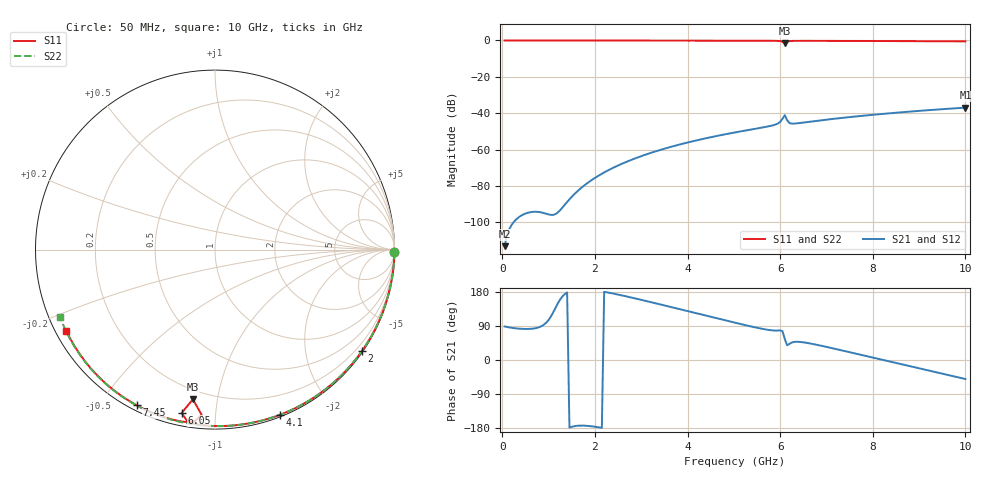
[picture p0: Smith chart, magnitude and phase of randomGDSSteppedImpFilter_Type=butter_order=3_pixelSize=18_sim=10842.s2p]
! freq	dB(S11)	phase(S11)	dB(S12)	phase(S12)
!  dB(S21)	phase(S21)	dB(S22)	phase(S22)
!S-par simulation data
#  GHz  S  DB  R 50
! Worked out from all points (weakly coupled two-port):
!   200 points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, 50 MHz to 10 GHz, reference 50 ohm
!   highest |S21| = -36.91 dB at 10 GHz (marker M1); lowest = -113.0 dB at 50 MHz (marker M2)
!   lowest |S11| = -1.5 dB at 6.1 GHz (marker M3), VSWR 11.75, Z = 7.38 - j42.6 ohm
!   |S11| at or under -10 dB: nowhere
!   |S22| runs from -0.5 to 0.0 dB; largest |S21 - S12| = 0
!   S11 on the Smith chart (normalised r, x): 50 MHz: open; 2 GHz: 0.03, -3.22; 4.1 GHz: 0.02, -1.47; 6.05 GHz: 0.06, -0.81; 7.45 GHz: 0.02, -0.62; 10 GHz: 0.03, -0.26
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0.05  -0.00 -0.9  -113.01 88.5  -113.01 88.5  -0.00 -0.9
0.9  -0.02 -15.7  -94.83 93.4  -94.83 93.4  -0.02 -16.2
1.75  -0.04 -30.3  -80.05 -173.2  -80.05 -173.2  -0.04 -31.2
2  -0.04 -34.5  -75.52 -176.1  -75.52 -176.1  -0.05 -35.5
2.3  -0.05 -39.5  -71.15 177.7  -71.15 177.7  -0.05 -40.7
2.6  -0.06 -44.5  -67.55 170.0  -67.55 170.0  -0.06 -45.8
3  -0.07 -51.1  -63.56 158.8  -63.56 158.8  -0.07 -52.5
3.4  -0.08 -57.5  -60.22 147.0  -60.22 147.0  -0.08 -59.1
4.1  -0.10 -68.6  -55.45 125.9  -55.45 125.9  -0.10 -70.4
5.05  -0.13 -83.1  -50.41 97.6  -50.41 97.6  -0.13 -85.3
5.85  -0.19 -95.8  -46.57 77.9  -46.57 77.9  -0.17 -97.3
6  -0.33 -99.5  -44.77 78.1  -44.77 78.1  -0.18 -99.5
6.05  -0.64 -101.5  -43.01 76.2  -43.01 76.2  -0.18 -100.2
6.1  -1.48 -98.4  -41.02 55.5  -41.02 55.5  -0.18 -101.0
6.15  -0.68 -94.6  -43.79 38.7  -43.79 38.7  -0.18 -101.7
6.2  -0.35 -96.6  -45.34 42.6  -45.34 42.6  -0.19 -102.4
6.25  -0.26 -98.1  -45.68 46.0  -45.68 46.0  -0.19 -103.2
6.7  -0.21 -106.0  -44.44 42.4  -44.44 42.4  -0.21 -109.7
7.45  -0.26 -116.6  -42.23 22.0  -42.23 22.0  -0.27 -120.4
8.35  -0.33 -128.9  -40.03 -3.6  -40.03 -3.6  -0.34 -133.0
9.2  -0.41 -140.4  -38.30 -27.7  -38.30 -27.7  -0.43 -145.0
10  -0.50 -151.3  -36.91 -50.2  -36.91 -50.2  -0.53 -156.3
